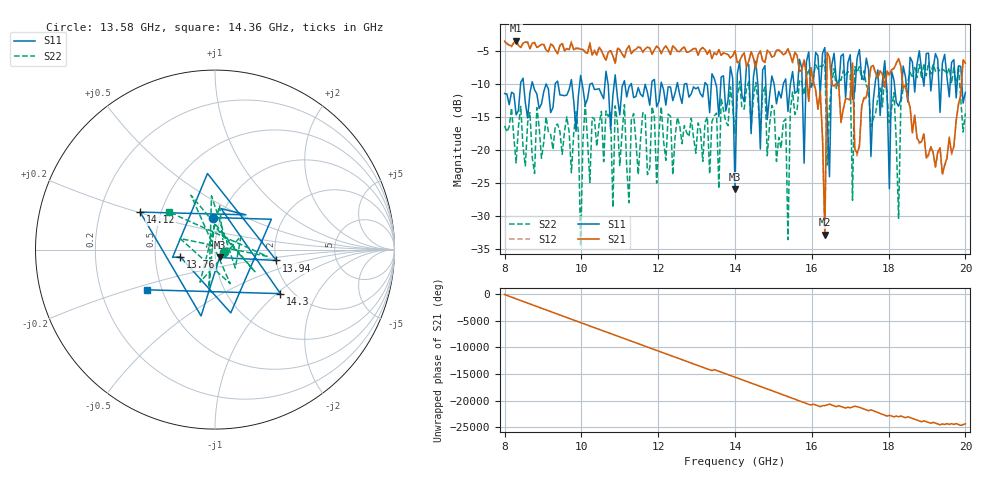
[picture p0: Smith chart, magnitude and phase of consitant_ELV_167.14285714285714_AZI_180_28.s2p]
! 10/29/2026 5:33:26 PM
! C:\ANRITSUVNA\TEMP\TEMP.S2P
! CHANNEL.1
! TR.MEASUREMENT
! RAW.DATA
# HZ S RI R 50.0
! FREQ.HZ  S11RE  S11IM  S21RE  S21IM  S12RE  S12IM  S22RE  S22IM
!; PortSelection: Port_12
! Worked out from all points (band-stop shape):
!   201 points, 8 GHz to 20 GHz, reference 50 ohm
!   highest |S21| = -3.45 dB at 8.3 GHz (marker M1); lowest = -32.8 dB at 16.34 GHz (marker M2)
!   |S21| within 3 dB of the highest: start of sweep to 10.86 GHz; 10.89 GHz to 14.05 GHz (3.157 GHz wide, 25.3 % of centre) (the widest 2 of 11)
!   lowest |S11| = -25.9 dB at 14 GHz (marker M3), VSWR 1.11, Z = 52.4 - j4.62 ohm
!   |S11| at or under -10 dB: start of sweep to 8.417 GHz; 8.735 GHz to 9.319 GHz (583.6 MHz wide, 6.46 % of centre); 11.3 GHz to 11.83 GHz (531.5 MHz wide, 4.6 % of centre) (the widest 3 of 45)
!   |S22| runs from -34.5 to -6.4 dB; largest |S21 - S12| = 0.32
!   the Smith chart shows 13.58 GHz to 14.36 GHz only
!   S11 on the Smith chart (normalised r, x): 13.58 GHz: 0.92, +0.34; 13.76 GHz: 0.67, -0.06; 13.94 GHz: 2.02, -0.28; 14.12 GHz: 0.38, +0.20; 14.3 GHz: 1.74, -1.06; 14.36 GHz: 0.41, -0.23
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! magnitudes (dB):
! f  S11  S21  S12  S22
! 8 GHz  -11.5  -3.6  -3.7  -16.3
! 8.3 GHz  -14.7  -3.5  -3.4  -21.9
! 10.04 GHz  -10.7  -4.8  -4.8  -18.6
! 12.02 GHz  -12.6  -4.6  -4.6  -17.3
! 13.58 GHz  -14.9  -4.8  -4.8  -25.8
! 13.76 GHz  -14.1  -5.4  -5.5  -15.7
! 13.94 GHz  -9.2  -5.8  -5.9  -13.4
! 14 GHz  -25.9  -5.0  -5.0  -17.4
! 14.12 GHz  -6.6  -6.6  -6.6  -9.6
! 14.3 GHz  -7.1  -7.4  -7.3  -10.7
! 14.36 GHz  -7.1  -6.6  -6.5  -9.6
! 15.32 GHz  -9.2  -5.4  -5.2  -15.3
! 15.38 GHz  -14.2  -4.7  -4.8  -33.5
! 15.5 GHz  -8.1  -6.7  -6.9  -11.2
! 16.04 GHz  -9.8  -9.6  -9.7  -8.9
! 16.34 GHz  -4.5  -32.8  -33.1  -6.4
! 16.4 GHz  -14.5  -5.3  -5.3  -22.3
! 17.9 GHz  -6.5  -10.6  -10.7  -8.0
! 18.02 GHz  -25.9  -8.6  -8.8  -15.9
! 18.08 GHz  -8.1  -7.9  -7.9  -13.6
! 18.26 GHz  -13.4  -6.2  -6.2  -30.3
! 20 GHz  -11.3  -6.9  -6.8  -14.5
